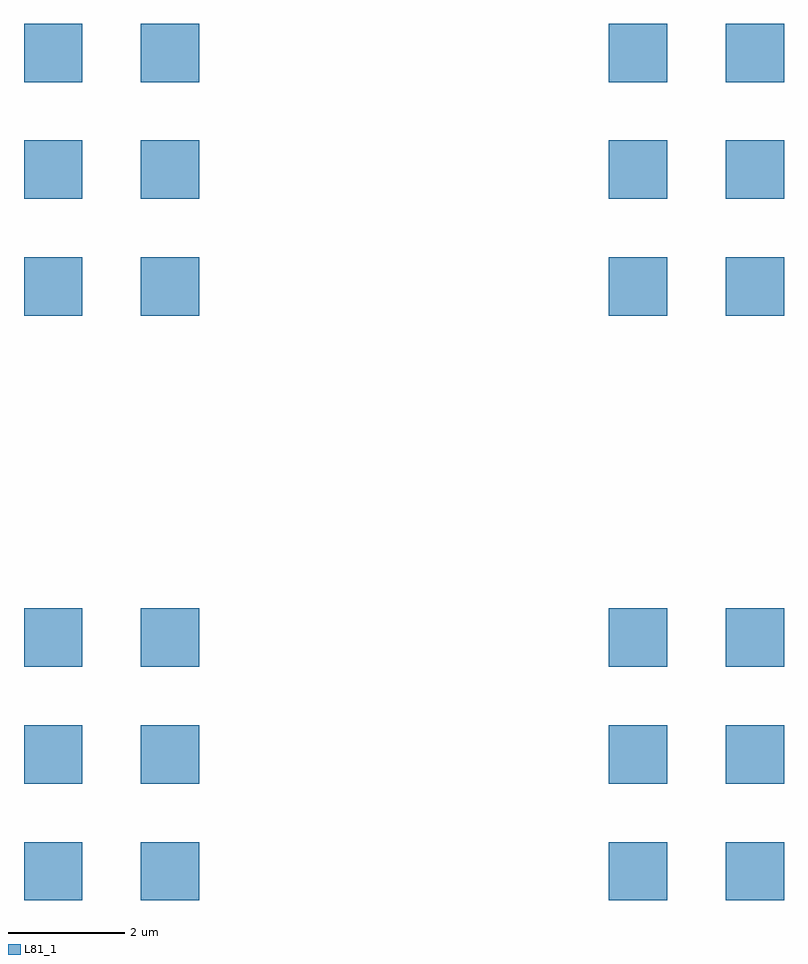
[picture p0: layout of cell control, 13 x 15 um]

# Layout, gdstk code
from math import pi, radians
import gdstk
lib = gdstk.Library(unit=1e-6, precision=1e-09)
def R(c, l, rs):  # rectangles x0, y0, x1, y1
    for r in rs: c.add(gdstk.rectangle(r[:2], r[2:], *l))
L81_1 = (81, 1)

child = lib.new_cell('child')
R(child, L81_1, [(0,0,1,1)])

middle = lib.new_cell('middle')
r = gdstk.Reference(child, (2,0), rotation=pi, x_reflection=True); r.repetition = gdstk.Repetition(2, 3, v1=(-2,0), v2=(0,2)); middle.add(r)

control = lib.new_cell('control')
r = gdstk.Reference(middle, (0,0)); r.repetition = gdstk.Repetition(2, 2, v1=(10,0), v2=(0,10)); control.add(r)

lib.write_gds('control.gds')
